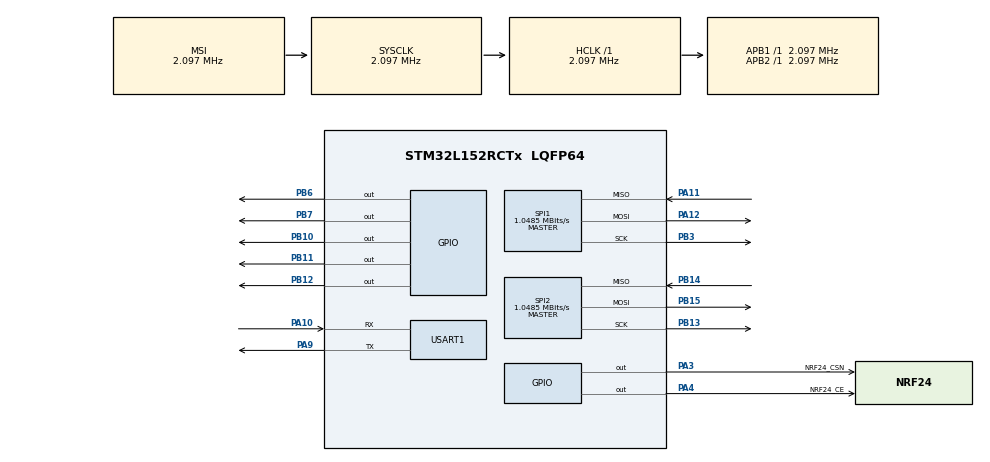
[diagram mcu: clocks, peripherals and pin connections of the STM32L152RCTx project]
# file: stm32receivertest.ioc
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Mcu.Family=STM32L1
Mcu.Name=STM32L152RCTx
Mcu.Package=LQFP64
NVIC.PriorityGroup=NVIC_PRIORITYGROUP_4
PA10.Mode=Asynchronous
PA10.Signal=USART1_RX
PA11.Mode=Full_Duplex_Master
PA11.Signal=SPI1_MISO
PA12.Mode=Full_Duplex_Master
PA12.Signal=SPI1_MOSI
PA3.GPIO_Label=NRF24_CSN
PA3.Signal=GPIO_Output
PA4.GPIO_Label=NRF24_CE
PA4.Signal=GPIO_Output
PA9.Mode=Asynchronous
PA9.Signal=USART1_TX
PB10.Signal=GPIO_Output
PB11.Signal=GPIO_Output
PB12.Signal=GPIO_Output
PB13.Mode=Full_Duplex_Master
PB13.Signal=SPI2_SCK
PB14.Mode=Full_Duplex_Master
PB14.Signal=SPI2_MISO
PB15.Mode=Full_Duplex_Master
PB15.Signal=SPI2_MOSI
PB3.Mode=Full_Duplex_Master
PB3.Signal=SPI1_SCK
PB6.Signal=GPIO_Output
PB7.Signal=GPIO_Output
ProjectManager.HeapSize=0x200
ProjectManager.StackSize=0x400
ProjectManager.TargetToolchain=STM32CubeIDE
RCC.AHBFreq_Value=2097000
RCC.APB1Freq_Value=2097000
RCC.APB2Freq_Value=2097000
RCC.HSE_VALUE=24000000
RCC.HSI_VALUE=16000000
RCC.LSE_VALUE=32768
RCC.MSI_VALUE=2097000
RCC.SYSCLKFreq_VALUE=2097000
RCC.VCOOutputFreq_Value=48000000
SPI1.CalculateBaudRate=1.0485 MBits/s
SPI1.Direction=SPI_DIRECTION_2LINES
SPI1.Mode=SPI_MODE_MASTER
SPI1.VirtualType=VM_MASTER
SPI2.CalculateBaudRate=1.0485 MBits/s
SPI2.Direction=SPI_DIRECTION_2LINES
SPI2.Mode=SPI_MODE_MASTER
SPI2.VirtualType=VM_MASTER
USART1.VirtualMode=VM_ASYNC
board=custom

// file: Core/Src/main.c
/* USER CODE BEGIN Header */
/**
  ******************************************************************************
  * @file           : main.c
  * @brief          : Main program body
  ******************************************************************************
  * @attention
  *
  * Copyright (c) 2023 STMicroelectronics.
  * All rights reserved.
  *
  * This software is licensed under terms that can be found in the LICENSE file
  * in the root directory of this software component.
  * If no LICENSE file comes with this software, it is provided AS-IS.
  *
  ******************************************************************************
  */
/* USER CODE END Header */
#include "main.h"
#include "spi.h"
#include "usart.h"
#include "gpio.h"

/* USER CODE BEGIN Includes */
#include "ST7735.h"
#include <stdio.h>
#include <string.h>
#include <stdlib.h>

#include "nRF24.h"
#include "nRF24_Defs.h"
/* USER CODE END Includes */

/* USER CODE BEGIN PV */
volatile uint8_t nrf24_rx_flag, nrf24_tx_flag, nrf24_mr_flag;
uint8_t Nrf24_Message[NRF24_PAYLOAD_SIZE];
uint8_t message[32];
uint8_t MessageLength;
uint8_t temp[3];
uint8_t humidity[3];
uint8_t pressure[4];
/* USER CODE END PV */

void SystemClock_Config(void);

/* USER CODE BEGIN 0 */
//CS - PB12
//DC - PB11
//RST - PB10
//SPI2

/* USER CODE END 0 */

int main(void)
{

  /* MCU Configuration--------------------------------------------------------*/

  /* Reset of all peripherals, Initializes the Flash interface and the Systick. */
  HAL_Init();

  /* Configure the system clock */
  SystemClock_Config();

  /* Initialize all configured peripherals */
  MX_GPIO_Init();
  MX_SPI2_Init();
  MX_SPI1_Init();
  MX_USART1_UART_Init();
  /* USER CODE BEGIN 2 */
  ST7735_Init(0);
  ST7735_SetRotation(0);

  fillScreen(BLACK);

  ST7735_WriteString(5, 6, "Temperature:", Font_7x10, YELLOW,BLACK);

  ST7735_WriteString(5, 65, "Humidity:", Font_7x10, YELLOW,BLACK);

  ST7735_WriteString(5, 120, "Pressure:", Font_7x10, YELLOW,BLACK);

  nRF24_Init(&hspi1);

  nRF24_SetRXAddress(0, (uint8_t *)"Odb");
  nRF24_SetTXAddress((uint8_t *)"Nad");
  nRF24_RX_Mode();
  /* USER CODE END 2 */

  /* Infinite loop */
  /* USER CODE BEGIN WHILE */
  while (1)
  {

	  if(nRF24_RXAvailible())
	 	  {
		  nRF24_ReadRXPaylaod(Nrf24_Message);
		  HAL_GPIO_TogglePin(GPIOB, GPIO_PIN_6);
	 	  }

	  MessageLength = sprintf(message, "%c%c%c%c", Nrf24_Message[0],Nrf24_Message[1],Nrf24_Message[2],Nrf24_Message[3]);
	  ST7735_WriteString(37, 25,(char *)message, Font_11x18, YELLOW,BLACK);

	  MessageLength = sprintf(message, "%c%c%c%c", Nrf24_Message[4],Nrf24_Message[5],Nrf24_Message[6],Nrf24_Message[7]);
	  ST7735_WriteString(37, 85,(char *)message, Font_11x18, YELLOW,BLACK);

	  MessageLength = sprintf(message, "%c%c%c%c%c", Nrf24_Message[8],Nrf24_Message[9],Nrf24_Message[10],Nrf24_Message[11],Nrf24_Message[12]);
	  ST7735_WriteString(37, 140, (char *)message, Font_11x18, YELLOW,BLACK);
    /* USER CODE END WHILE */

  }
}

void SystemClock_Config(void)
{
  RCC_OscInitTypeDef RCC_OscInitStruct = {0};
  RCC_ClkInitTypeDef RCC_ClkInitStruct = {0};

  /** Configure the main internal regulator output voltage
  */
  __HAL_PWR_VOLTAGESCALING_CONFIG(PWR_REGULATOR_VOLTAGE_SCALE1);

  /** Initializes the RCC Oscillators according to the specified parameters
  * in the RCC_OscInitTypeDef structure.
  */
  RCC_OscInitStruct.OscillatorType = RCC_OSCILLATORTYPE_MSI;
  RCC_OscInitStruct.MSIState = RCC_MSI_ON;
  RCC_OscInitStruct.MSICalibrationValue = 0;
  RCC_OscInitStruct.MSIClockRange = RCC_MSIRANGE_5;
  RCC_OscInitStruct.PLL.PLLState = RCC_PLL_NONE;
  if (HAL_RCC_OscConfig(&RCC_OscInitStruct) != HAL_OK)
  {
    Error_Handler();
  }

  /** Initializes the CPU, AHB and APB buses clocks
  */
  RCC_ClkInitStruct.ClockType = RCC_CLOCKTYPE_HCLK|RCC_CLOCKTYPE_SYSCLK
                              |RCC_CLOCKTYPE_PCLK1|RCC_CLOCKTYPE_PCLK2;
  RCC_ClkInitStruct.SYSCLKSource = RCC_SYSCLKSOURCE_MSI;
  RCC_ClkInitStruct.AHBCLKDivider = RCC_SYSCLK_DIV1;
  RCC_ClkInitStruct.APB1CLKDivider = RCC_HCLK_DIV1;
  RCC_ClkInitStruct.APB2CLKDivider = RCC_HCLK_DIV1;

  if (HAL_RCC_ClockConfig(&RCC_ClkInitStruct, FLASH_LATENCY_0) != HAL_OK)
  {
    Error_Handler();
  }
}

/* USER CODE BEGIN 4 */

/* USER CODE BEGIN 4 */

/* USER CODE END 4 */

void Error_Handler(void)
{
  __disable_irq();
  while (1)
  {
  }
}
